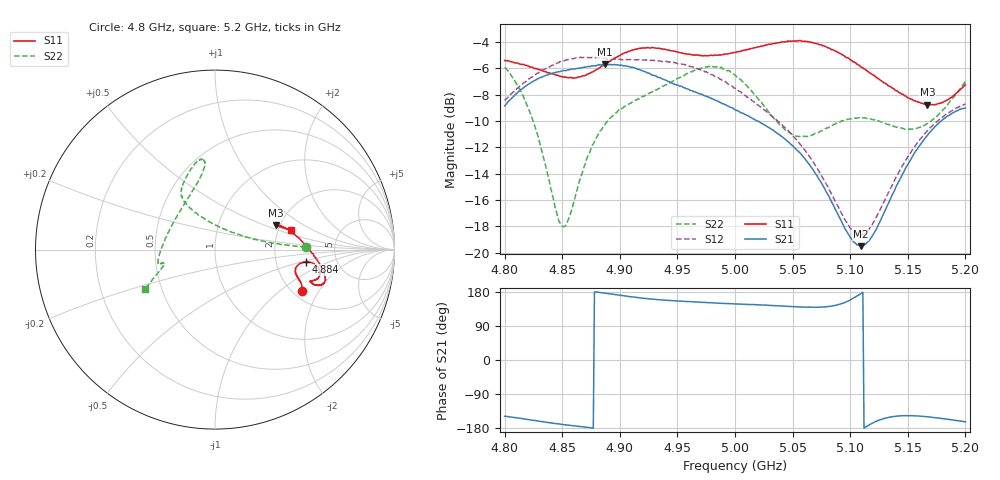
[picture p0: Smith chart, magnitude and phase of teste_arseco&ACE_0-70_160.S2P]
! Network Analyzer HP8722D
! Hewlett-Packard
! Data name: Linha & Wilkinson
! Saver's name: Rodrigo Anjos
! Comments: Teste da utilização de aquisição
! continua pelo VNA HP8722D
! Time and date: 8/5/2025 14:05
!  Frequency  S11  S21  S12  S22
# HZ  S  MA R 50
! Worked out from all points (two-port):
!   401 points, 4.8 GHz to 5.2 GHz, reference 50 ohm
!   highest |S21| = -5.69 dB at 4.887 GHz (marker M1); lowest = -19.5 dB at 5.109 GHz (marker M2)
!   |S21| within 3 dB of the highest: 4.802 GHz to 4.99 GHz (188.4 MHz wide, 3.85 % of centre)
!   lowest |S11| = -8.8 dB at 5.167 GHz (marker M3), VSWR 2.15, Z = 94.8 + j29.9 ohm
!   |S11| at or under -10 dB: nowhere
!   |S22| runs from -18.0 to -5.8 dB; largest |S21 - S12| = 1.1
!   S11 on the Smith chart (normalised r, x): 4.8 GHz: 2.24, -1.45; 4.884 GHz: 2.97, -0.55; 5.2 GHz: 2.33, +0.64
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4.8e9  0.5369 -25.4  0.3609 -148.4  0.3783 11.0  0.5057 1.6
4.813e9  0.5202 -22.2  0.4116 -153.6  0.4285 9.3  0.4189 3.3
4.824e9  0.5059 -20.3  0.4452 -158.8  0.4651 7.5  0.322 6.4
4.849e9  0.4659 -16.2  0.4892 -169.6  0.5321 3.6  0.1271 57.0
4.855e9  0.462 -14.6  0.4945 -171.8  0.5407 2.6  0.1324 84.1
4.867e9  0.4675 -11.2  0.5044 -176.0  0.5508 1.1  0.198 112.6
4.884e9  0.51 -7.7  0.5173 177.6  0.5474 -0.4  0.2922 121.8
4.887e9  0.5188 -7.6  0.5192 176.5  0.547 -0.4  0.3056 122.2
4.912e9  0.5891 -10.6  0.5044 165.8  0.5401 0.0  0.3747 120.2
4.934e9  0.5971 -15.4  0.4628 158.8  0.5354 -1.0  0.4198 113.8
4.975e9  0.5591 -18.5  0.3922 151.6  0.4868 -4.7  0.5077 99.8
5e9  0.5768 -19.2  0.3489 148.0  0.422 -5.0  0.4736 97.3
5.018e9  0.6011 -19.1  0.3182 146.0  0.3677 -2.4  0.3948 103.5
5.044e9  0.6328 -17.5  0.2687 141.9  0.2961 3.3  0.2903 131.2
5.067e9  0.6279 -13.2  0.2089 139.2  0.2242 9.5  0.28 164.4
5.098e9  0.5504 -2.8  0.1181 155.4  0.1281 36.3  0.3211 -170.3
5.109e9  0.5089 2.2  0.1058 174.4  0.1166 57.8  0.3252 -167.0
5.119e9  0.4757 7.5  0.1154 -167.0  0.1274 77.4  0.3204 -166.0
5.134e9  0.4287 14.4  0.1566 -150.9  0.1718 94.7  0.306 -165.6
5.167e9  0.3642 22.0  0.2783 -149.8  0.2903 102.9  0.3089 -161.2
5.182e9  0.376 20.3  0.3239 -155.3  0.3326 103.0  0.3531 -156.8
5.2e9  0.4353 14.7  0.3539 -163.1  0.3674 103.3  0.4459 -150.4
